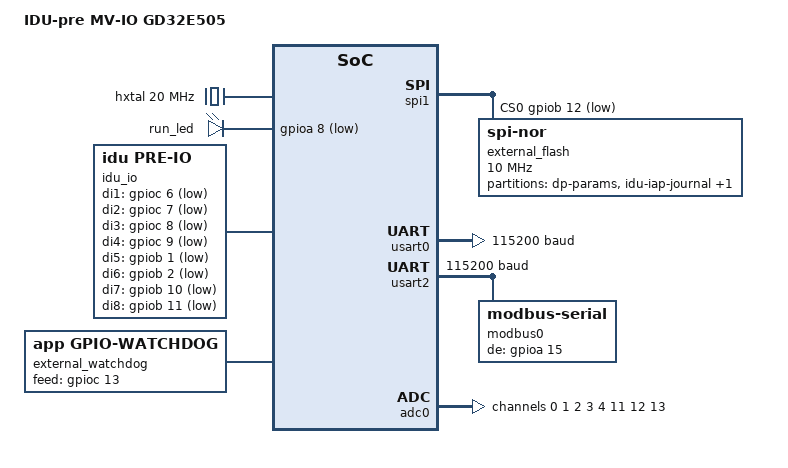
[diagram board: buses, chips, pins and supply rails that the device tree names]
/dts-v1/;

#include <mem.h>
#include <arm/gd/gd32e505.dtsi>
#include <zephyr/dt-bindings/adc/adc.h>
#include "idu_pre-pinctrl.dtsi"

/ {
    model = "IDU-pre MV-IO GD32E505";
    compatible = "idu,pre";

    hxtal: hxtal-clock {
        compatible = "fixed-clock";
        #clock-cells = <0>;
        clock-frequency = <20000000>; /* 有源振荡器接入 OSC_IN，必须启用旁路。 */
    };

    pll: pll {
        compatible = "gd,gd32e505-pll";
        #clock-cells = <0>;
        clocks = <&hxtal>;
        hxtal-bypass;
        prediv = <5>;
        mul = <45>;
        apb1-prescaler = <2>;
        apb2-prescaler = <1>;
    };

    chosen {
        zephyr,sram = &sram0;
        zephyr,flash = &flash0;
        zephyr,flash-controller = &fmc;
        zephyr,console = &usart0;
        zephyr,shell-uart = &usart0;
        zephyr,code-partition = &slot0_partition;
        iap,staging = &iap_staging;
        iap,journal = &iap_journal;
    };

    aliases {
        dp-params = &dp_params;
        led0 = &run_led;
        idu-forward = &modbus0;
        /* CO/TR 共用此 RS485 链路，用于单总线性能测试。 */
    };

    leds {
        compatible = "gpio-leds";
        run_led: run-led { gpios = <&gpioa 8 GPIO_ACTIVE_LOW>; };
    };

    idu_io: idu-io {
        compatible = "idu,pre-io";
        di-bit-order = "lsb-first";
        address-bit-order = "msb-first";
        address-offset = <1>;
        io-channels = <&adc0 13>, <&adc0 0>, <&adc0 1>, <&adc0 2>, <&adc0 3>, <&adc0 4>, <&adc0 11>, <&adc0 12>;
        io-channel-names = "current-1", "current-2", "current-3", "current-4", "current-5", "current-6", "current-7", "current-8";
        di1-gpios = <&gpioc 6 (GPIO_ACTIVE_LOW | GPIO_PULL_UP)>;
        di2-gpios = <&gpioc 7 (GPIO_ACTIVE_LOW | GPIO_PULL_UP)>;
        di3-gpios = <&gpioc 8 (GPIO_ACTIVE_LOW | GPIO_PULL_UP)>;
        di4-gpios = <&gpioc 9 (GPIO_ACTIVE_LOW | GPIO_PULL_UP)>;
        di5-gpios = <&gpiob 1 (GPIO_ACTIVE_LOW | GPIO_PULL_UP)>;
        di6-gpios = <&gpiob 2 (GPIO_ACTIVE_LOW | GPIO_PULL_UP)>;
        di7-gpios = <&gpiob 10 (GPIO_ACTIVE_LOW | GPIO_PULL_UP)>;
        di8-gpios = <&gpiob 11 (GPIO_ACTIVE_LOW | GPIO_PULL_UP)>;
        di9-gpios = <&gpioe 1 (GPIO_ACTIVE_LOW | GPIO_PULL_UP)>;
        di10-gpios = <&gpiob 8 (GPIO_ACTIVE_LOW | GPIO_PULL_UP)>;
        di11-gpios = <&gpiob 9 (GPIO_ACTIVE_LOW | GPIO_PULL_UP)>;
        di12-gpios = <&gpioe 0 (GPIO_ACTIVE_LOW | GPIO_PULL_UP)>;
        di13-gpios = <&gpioe 2 (GPIO_ACTIVE_LOW | GPIO_PULL_UP)>;
        di14-gpios = <&gpioe 3 (GPIO_ACTIVE_LOW | GPIO_PULL_UP)>;
        di15-gpios = <&gpioe 4 (GPIO_ACTIVE_LOW | GPIO_PULL_UP)>;
        di16-gpios = <&gpioe 5 (GPIO_ACTIVE_LOW | GPIO_PULL_UP)>;
        address1-gpios = <&gpiod 8 (GPIO_ACTIVE_LOW | GPIO_PULL_UP)>;
        address2-gpios = <&gpiod 9 (GPIO_ACTIVE_LOW | GPIO_PULL_UP)>;
        address3-gpios = <&gpiod 10 (GPIO_ACTIVE_LOW | GPIO_PULL_UP)>;
        address4-gpios = <&gpiod 11 (GPIO_ACTIVE_LOW | GPIO_PULL_UP)>;
    };

    soc {
        spi1: spi@40003800 {
            compatible = "gd,gd32-spi";
            reg = <0x40003800 0x400>;
            interrupts = <36 0>;
            clocks = <&cctl GD32_CLOCK_SPI1>;
            resets = <&rctl GD32_RESET_SPI1>;
            #address-cells = <1>;
            #size-cells = <0>;
            pinctrl-0 = <&flash_spi_default>;
            pinctrl-names = "default";
            cs-gpios = <&gpiob 12 GPIO_ACTIVE_LOW>;
            status = "okay";
            external_flash: flash@0 {
                compatible = "jedec,spi-nor";
                reg = <0>;
                spi-max-frequency = <10000000>;
                spi-cpol;
                spi-cpha;
                size = <33554432>; /* W25Q32：32 Mbit，需核对实际装配型号。 */
                partitions {
                    compatible = "fixed-partitions";
                    #address-cells = <1>;
                    #size-cells = <1>;
                    dp_params: partition@10000 {
                        label = "dp-params";
                        reg = <0x10000 0x4000>;
                    };
                    /* IAPv3 结果日志；偏移与既有设备保持一致，不参与参数清空。 */
                    iap_journal: partition@18000 {
                        label = "idu-iap-journal";
                        reg = <0x18000 0x4000>;
                    };
                    /* SGZ 暂存上限与 CONFIG_IAP_MAX_CONTAINER_SIZE 成对维护。 */
                    iap_staging: partition@201000 {
                        label = "idu-iap-sgz";
                        reg = <0x201000 0x80000>;
                    };
                };
            };
        };
    };
};

&flash0 {
    reg = <0x08000000 DT_SIZE_K(512)>;
    write-block-size = <4>; /* E505 FMC 支持按字编程。 */
    erase-block-size = <8192>; /* 参见 GD32E50x 用户手册第 2.3.1 节。 */
};
&sram0 { reg = <0x20000000 DT_SIZE_K(128)>; };
&gpioa { status = "okay"; };
&gpiob { status = "okay"; };
&gpioc { status = "okay"; };
&gpiod { status = "okay"; };
&gpioe { status = "okay"; };
&usart0 {
    status = "okay";
    current-speed = <115200>;
    pinctrl-0 = <&debug_uart_default>;
    pinctrl-names = "default";
};
&usart2 {
    status = "okay";
    current-speed = <115200>;
    pinctrl-0 = <&rs485_uart_default>;
    pinctrl-names = "default";
    modbus0: modbus {
        compatible = "zephyr,modbus-serial";
        de-gpios = <&gpioa 15 GPIO_ACTIVE_HIGH>;
        status = "okay";
    };
};

&adc0 {
    status = "okay";
    clock-prescaler = <6>;
    vdda-millivolts = <3300>;
    pinctrl-0 = <&analog_default>;
    pinctrl-names = "default";
    channel@0 {
        reg = <0>;
        zephyr,gain = "ADC_GAIN_1";
        zephyr,reference = "ADC_REF_VDD_1";
        zephyr,vref-mv = <3300>;
        zephyr,acquisition-time = <ADC_ACQ_TIME(ADC_ACQ_TIME_TICKS, 72)>;
        zephyr,resolution = <12>;
    };
    channel@1 {
        reg = <1>;
        zephyr,gain = "ADC_GAIN_1";
        zephyr,reference = "ADC_REF_VDD_1";
        zephyr,vref-mv = <3300>;
        zephyr,acquisition-time = <ADC_ACQ_TIME(ADC_ACQ_TIME_TICKS, 72)>;
        zephyr,resolution = <12>;
    };
    channel@2 {
        reg = <2>;
        zephyr,gain = "ADC_GAIN_1";
        zephyr,reference = "ADC_REF_VDD_1";
        zephyr,vref-mv = <3300>;
        zephyr,acquisition-time = <ADC_ACQ_TIME(ADC_ACQ_TIME_TICKS, 72)>;
        zephyr,resolution = <12>;
    };
    channel@3 {
        reg = <3>;
        zephyr,gain = "ADC_GAIN_1";
        zephyr,reference = "ADC_REF_VDD_1";
        zephyr,vref-mv = <3300>;
        zephyr,acquisition-time = <ADC_ACQ_TIME(ADC_ACQ_TIME_TICKS, 72)>;
        zephyr,resolution = <12>;
    };
    channel@4 {
        reg = <4>;
        zephyr,gain = "ADC_GAIN_1";
        zephyr,reference = "ADC_REF_VDD_1";
        zephyr,vref-mv = <3300>;
        zephyr,acquisition-time = <ADC_ACQ_TIME(ADC_ACQ_TIME_TICKS, 72)>;
        zephyr,resolution = <12>;
    };
    channel@b {
        reg = <11>;
        zephyr,gain = "ADC_GAIN_1";
        zephyr,reference = "ADC_REF_VDD_1";
        zephyr,vref-mv = <3300>;
        zephyr,acquisition-time = <ADC_ACQ_TIME(ADC_ACQ_TIME_TICKS, 72)>;
        zephyr,resolution = <12>;
    };
    channel@c {
        reg = <12>;
        zephyr,gain = "ADC_GAIN_1";
        zephyr,reference = "ADC_REF_VDD_1";
        zephyr,vref-mv = <3300>;
        zephyr,acquisition-time = <ADC_ACQ_TIME(ADC_ACQ_TIME_TICKS, 72)>;
        zephyr,resolution = <12>;
    };
    channel@d {
        reg = <13>;
        zephyr,gain = "ADC_GAIN_1";
        zephyr,reference = "ADC_REF_VDD_1";
        zephyr,vref-mv = <3300>;
        zephyr,acquisition-time = <ADC_ACQ_TIME(ADC_ACQ_TIME_TICKS, 72)>;
        zephyr,resolution = <12>;
    };
};

/* 产品镜像布局，由应用和 MCUboot 共用。 */
#include "../../../bootloader/partitions.dtsi"

/ {
    external_watchdog: external-watchdog {
        compatible = "app,gpio-watchdog";
        feed-gpios = <&gpioc 13 GPIO_ACTIVE_HIGH>;
        feed-interval-ms = <10>;
        status = "okay";
    };
};
